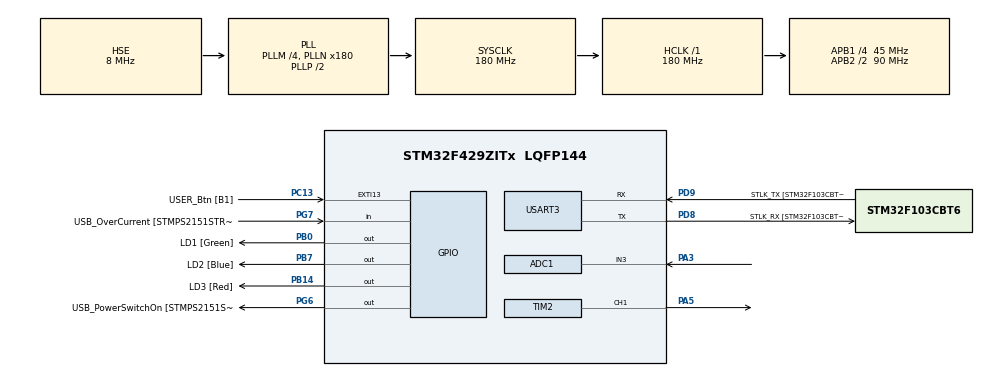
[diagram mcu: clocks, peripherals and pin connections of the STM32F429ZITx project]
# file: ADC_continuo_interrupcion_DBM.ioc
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ADC1.Channel-1\#ChannelRegularConversion=ADC_CHANNEL_3
ADC1.ClockPrescaler=ADC_CLOCK_SYNC_PCLK_DIV8
ADC1.ContinuousConvMode=ENABLE
ADC1.InjNumberOfConversion=0
ADC1.NbrOfConversion=1
ADC1.NbrOfConversionFlag=1
ADC1.Rank-1\#ChannelRegularConversion=1
ADC1.SamplingTime-1\#ChannelRegularConversion=ADC_SAMPLETIME_480CYCLES
ADC1.master=1
Mcu.Family=STM32F4
Mcu.Name=STM32F429ZITx
Mcu.Package=LQFP144
NVIC.ADC_IRQn=true\:0\:0\:false\:false\:true\:true\:true\:true
NVIC.PriorityGroup=NVIC_PRIORITYGROUP_4
PA1.GPIO_Label=RMII_REF_CLK [LAN8742A-CZ-TR_REFCLK0]
PA1.Signal=ETH_REF_CLK
PA10.GPIO_Label=USB_ID
PA10.Signal=USB_OTG_FS_ID
PA11.GPIO_Label=USB_DM
PA11.Signal=USB_OTG_FS_DM
PA12.GPIO_Label=USB_DP
PA12.Signal=USB_OTG_FS_DP
PA13.GPIO_Label=TMS
PA13.Mode=Serial_Wire
PA13.Signal=SYS_JTMS-SWDIO
PA14.GPIO_Label=TCK
PA14.Mode=Serial_Wire
PA14.Signal=SYS_JTCK-SWCLK
PA2.GPIO_Label=RMII_MDIO [LAN8742A-CZ-TR_MDIO]
PA2.Signal=ETH_MDIO
PA3.Signal=ADCx_IN3
PA5.Signal=S_TIM2_CH1_ETR
PA7.GPIO_Label=RMII_CRS_DV [LAN8742A-CZ-TR_CRS_DV]
PA7.Signal=ETH_CRS_DV
PA8.GPIO_Label=USB_SOF [TP1]
PA8.Signal=USB_OTG_FS_SOF
PA9.GPIO_Label=USB_VBUS
PA9.Signal=USB_OTG_FS_VBUS
PB0.GPIO_Label=LD1 [Green]
PB0.Signal=GPIO_Output
PB13.GPIO_Label=RMII_TXD1 [LAN8742A-CZ-TR_TXD1]
PB13.Signal=ETH_TXD1
PB14.GPIO_Label=LD3 [Red]
PB14.Signal=GPIO_Output
PB7.GPIO_Label=LD2 [Blue]
PB7.Signal=GPIO_Output
PC1.GPIO_Label=RMII_MDC [LAN8742A-CZ-TR_MDC]
PC1.Signal=ETH_MDC
PC13.GPIO_Label=USER_Btn [B1]
PC13.Signal=GPXTI13
PC14/OSC32_IN.Mode=LSE-External-Oscillator
PC14/OSC32_IN.Signal=RCC_OSC32_IN
PC15/OSC32_OUT.Mode=LSE-External-Oscillator
PC15/OSC32_OUT.Signal=RCC_OSC32_OUT
PC4.GPIO_Label=RMII_RXD0 [LAN8742A-CZ-TR_RXD0]
PC4.Signal=ETH_RXD0
PC5.GPIO_Label=RMII_RXD1 [LAN8742A-CZ-TR_RXD1]
PC5.Signal=ETH_RXD1
PD8.GPIO_Label=STLK_RX [STM32F103CBT6_PA3]
PD8.Mode=Asynchronous
PD8.Signal=USART3_TX
PD9.GPIO_Label=STLK_TX [STM32F103CBT6_PA2]
PD9.Mode=Asynchronous
PD9.Signal=USART3_RX
PG11.GPIO_Label=RMII_TX_EN [LAN8742A-CZ-TR_TXEN]
PG11.Signal=ETH_TX_EN
PG13.GPIO_Label=RMII_TXD0 [LAN8742A-CZ-TR_TXD0]
PG13.Signal=ETH_TXD0
PG6.GPIO_Label=USB_PowerSwitchOn [STMPS2151STR_EN]
PG6.Signal=GPIO_Output
PG7.GPIO_Label=USB_OverCurrent [STMPS2151STR_FAULT]
PG7.Signal=GPIO_Input
PH0/OSC_IN.GPIO_Label=MCO [STM32F103CBT6_PA8]
PH0/OSC_IN.Mode=HSE-External-Oscillator
PH0/OSC_IN.Signal=RCC_OSC_IN
PH1/OSC_OUT.Mode=HSE-External-Oscillator
PH1/OSC_OUT.Signal=RCC_OSC_OUT
ProjectManager.HeapSize=0x200
ProjectManager.StackSize=0x400
ProjectManager.TargetToolchain=STM32CubeIDE
RCC.48MHZClocksFreq_Value=51428571.428571425
RCC.AHBFreq_Value=180000000
RCC.APB1CLKDivider=RCC_HCLK_DIV4
RCC.APB1Freq_Value=45000000
RCC.APB1TimFreq_Value=90000000
RCC.APB2CLKDivider=RCC_HCLK_DIV2
RCC.APB2Freq_Value=90000000
RCC.APB2TimCLKDivider=2
RCC.APB2TimFreq_Value=180000000
RCC.CortexFreq_Value=180000000
RCC.HCLKFreq_Value=180000000
RCC.HSE_VALUE=8000000
RCC.HSI_VALUE=16000000
RCC.PLLM=4
RCC.PLLMUL=RCC_PLL_MUL9
RCC.PLLN=180
RCC.PLLQ=7
RCC.PLLSourceVirtual=RCC_PLLSOURCE_HSE
RCC.PRESCALERUSB=RCC_USBCLKSOURCE_PLL_DIV1_5
RCC.SYSCLKFreq_VALUE=180000000
RCC.SYSCLKSource=RCC_SYSCLKSOURCE_PLLCLK
RCC.SYSCLKSourceVirtual=RCC_SYSCLKSOURCE_PLLCLK
RCC.USBFreq_Value=48000000
RCC.VCOOutputFreq_Value=360000000
SH.ADCx_IN3.0=ADC1_IN3,IN3
SH.S_TIM2_CH1_ETR.0=TIM2_CH1,PWM Generation1 CH1
TIM2.AutoReloadPreload=TIM_AUTORELOAD_PRELOAD_ENABLE
TIM2.Channel-PWM\ Generation1\ CH1=TIM_CHANNEL_1
TIM2.Period=65535
TIM2.Prescaler=1
USART3.VirtualMode=VM_ASYNC
VP_TIM2_VS_ClockSourceINT.Mode=Internal
board=NUCLEO-F429ZI

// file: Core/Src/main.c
/* USER CODE BEGIN Header */
/**
  ******************************************************************************
  * @file           : main.c
  * @brief          : Ejemplo de ADC continuo solicitado por encuesta
  *                   (No veo diferencia entre continuo y único)
  ******************************************************************************
  *
  * El ejemplo se desarrolló en base a:
  * https://deepbluembedded.com/stm32-adc-read-example-dma-interrupt-polling/
  *
  ******************************************************************************
  */
/* USER CODE END Header */
#include "main.h"

/* USER CODE BEGIN Includes */
#include "uOSAL.h"

/* USER CODE END Includes */

/* USER CODE BEGIN PM */
#define DELTA 500

/* USER CODE END PM */

ADC_HandleTypeDef hadc1;

TIM_HandleTypeDef htim2;

UART_HandleTypeDef huart3;

/* USER CODE BEGIN PV */
volatile uint32_t AD_RES = 0;

/* USER CODE END PV */

void SystemClock_Config(void);
static void MX_GPIO_Init(void);
static void MX_USART3_UART_Init(void);
static void MX_ADC1_Init(void);
static void MX_TIM2_Init(void);

int main(void)
{

  /* MCU Configuration--------------------------------------------------------*/

  /* Reset of all peripherals, Initializes the Flash interface and the Systick. */
  HAL_Init();

  /* Configure the system clock */
  SystemClock_Config();

  /* Initialize all configured peripherals */
  MX_GPIO_Init();
  MX_USART3_UART_Init();
  MX_ADC1_Init();
  MX_TIM2_Init();
  /* USER CODE BEGIN 2 */
  //-----------------------------------------------------------------------------------------------
  uint32_t Tiempo_ms = uOSALmiliseg ();
  uartInit();

  GPIO_InitTypeDef  GPIO_InitStruct;
  GPIO_InitStruct.Pin = GPIO_PIN_0;
  GPIO_InitStruct.Mode = GPIO_MODE_OUTPUT_PP;
  GPIO_InitStruct.Pull = GPIO_NOPULL;
  GPIO_InitStruct.Speed = GPIO_SPEED_FAST;
  HAL_GPIO_Init(GPIOA, &GPIO_InitStruct);

  HAL_TIM_PWM_Start(&htim2, TIM_CHANNEL_1);
  HAL_ADC_Start_IT(&hadc1);  // Inicia la conversión continua del ADC

  //-----------------------------------------------------------------------------------------------
  /* USER CODE END 2 */

  /* Infinite loop */
  while (1)
  {

    /* USER CODE BEGIN 3 */
	//---------------------------------------------------------------------------------------------

	// Evalúo si envío a UART
	if (uOSALmiliseg ()-Tiempo_ms > DELTA) {
		Tiempo_ms += DELTA;
		uEscribirTextoEnteroP ("Leo:", AD_RES);
	}

  }
  //-----------------------------------------------------------------------------------------------
  /* USER CODE END 3 */
}

void SystemClock_Config(void)
{
  RCC_OscInitTypeDef RCC_OscInitStruct = {0};
  RCC_ClkInitTypeDef RCC_ClkInitStruct = {0};

  /** Configure the main internal regulator output voltage
  */
  __HAL_RCC_PWR_CLK_ENABLE();
  __HAL_PWR_VOLTAGESCALING_CONFIG(PWR_REGULATOR_VOLTAGE_SCALE1);

  /** Initializes the RCC Oscillators according to the specified parameters
  * in the RCC_OscInitTypeDef structure.
  */
  RCC_OscInitStruct.OscillatorType = RCC_OSCILLATORTYPE_HSE;
  RCC_OscInitStruct.HSEState = RCC_HSE_ON;
  RCC_OscInitStruct.PLL.PLLState = RCC_PLL_ON;
  RCC_OscInitStruct.PLL.PLLSource = RCC_PLLSOURCE_HSE;
  RCC_OscInitStruct.PLL.PLLM = 4;
  RCC_OscInitStruct.PLL.PLLN = 180;
  RCC_OscInitStruct.PLL.PLLP = RCC_PLLP_DIV2;
  RCC_OscInitStruct.PLL.PLLQ = 7;
  if (HAL_RCC_OscConfig(&RCC_OscInitStruct) != HAL_OK)
  {
    Error_Handler();
  }

  /** Activate the Over-Drive mode
  */
  if (HAL_PWREx_EnableOverDrive() != HAL_OK)
  {
    Error_Handler();
  }

  /** Initializes the CPU, AHB and APB buses clocks
  */
  RCC_ClkInitStruct.ClockType = RCC_CLOCKTYPE_HCLK|RCC_CLOCKTYPE_SYSCLK
                              |RCC_CLOCKTYPE_PCLK1|RCC_CLOCKTYPE_PCLK2;
  RCC_ClkInitStruct.SYSCLKSource = RCC_SYSCLKSOURCE_PLLCLK;
  RCC_ClkInitStruct.AHBCLKDivider = RCC_SYSCLK_DIV1;
  RCC_ClkInitStruct.APB1CLKDivider = RCC_HCLK_DIV4;
  RCC_ClkInitStruct.APB2CLKDivider = RCC_HCLK_DIV2;

  if (HAL_RCC_ClockConfig(&RCC_ClkInitStruct, FLASH_LATENCY_5) != HAL_OK)
  {
    Error_Handler();
  }
}

static void MX_ADC1_Init(void)
{

  ADC_ChannelConfTypeDef sConfig = {0};

  /** Configure the global features of the ADC (Clock, Resolution, Data Alignment and number of conversion)
  */
  hadc1.Instance = ADC1;
  hadc1.Init.ClockPrescaler = ADC_CLOCK_SYNC_PCLK_DIV8;
  hadc1.Init.Resolution = ADC_RESOLUTION_12B;
  hadc1.Init.ScanConvMode = DISABLE;
  hadc1.Init.ContinuousConvMode = ENABLE;
  hadc1.Init.DiscontinuousConvMode = DISABLE;
  hadc1.Init.ExternalTrigConvEdge = ADC_EXTERNALTRIGCONVEDGE_NONE;
  hadc1.Init.ExternalTrigConv = ADC_SOFTWARE_START;
  hadc1.Init.DataAlign = ADC_DATAALIGN_RIGHT;
  hadc1.Init.NbrOfConversion = 1;
  hadc1.Init.DMAContinuousRequests = DISABLE;
  hadc1.Init.EOCSelection = ADC_EOC_SINGLE_CONV;
  if (HAL_ADC_Init(&hadc1) != HAL_OK)
  {
    Error_Handler();
  }

  /** Configure for the selected ADC regular channel its corresponding rank in the sequencer and its sample time.
  */
  sConfig.Channel = ADC_CHANNEL_3;
  sConfig.Rank = 1;
  sConfig.SamplingTime = ADC_SAMPLETIME_480CYCLES;
  if (HAL_ADC_ConfigChannel(&hadc1, &sConfig) != HAL_OK)
  {
    Error_Handler();
  }

}

static void MX_TIM2_Init(void)
{

  TIM_ClockConfigTypeDef sClockSourceConfig = {0};
  TIM_MasterConfigTypeDef sMasterConfig = {0};
  TIM_OC_InitTypeDef sConfigOC = {0};

  htim2.Instance = TIM2;
  htim2.Init.Prescaler = 1;
  htim2.Init.CounterMode = TIM_COUNTERMODE_UP;
  htim2.Init.Period = 65535;
  htim2.Init.ClockDivision = TIM_CLOCKDIVISION_DIV1;
  htim2.Init.AutoReloadPreload = TIM_AUTORELOAD_PRELOAD_ENABLE;
  if (HAL_TIM_Base_Init(&htim2) != HAL_OK)
  {
    Error_Handler();
  }
  sClockSourceConfig.ClockSource = TIM_CLOCKSOURCE_INTERNAL;
  if (HAL_TIM_ConfigClockSource(&htim2, &sClockSourceConfig) != HAL_OK)
  {
    Error_Handler();
  }
  if (HAL_TIM_PWM_Init(&htim2) != HAL_OK)
  {
    Error_Handler();
  }
  sMasterConfig.MasterOutputTrigger = TIM_TRGO_RESET;
  sMasterConfig.MasterSlaveMode = TIM_MASTERSLAVEMODE_DISABLE;
  if (HAL_TIMEx_MasterConfigSynchronization(&htim2, &sMasterConfig) != HAL_OK)
  {
    Error_Handler();
  }
  sConfigOC.OCMode = TIM_OCMODE_PWM1;
  sConfigOC.Pulse = 0;
  sConfigOC.OCPolarity = TIM_OCPOLARITY_HIGH;
  sConfigOC.OCFastMode = TIM_OCFAST_DISABLE;
  if (HAL_TIM_PWM_ConfigChannel(&htim2, &sConfigOC, TIM_CHANNEL_1) != HAL_OK)
  {
    Error_Handler();
  }
  HAL_TIM_MspPostInit(&htim2);

}

static void MX_USART3_UART_Init(void)
{

  huart3.Instance = USART3;
  huart3.Init.BaudRate = 115200;
  huart3.Init.WordLength = UART_WORDLENGTH_8B;
  huart3.Init.StopBits = UART_STOPBITS_1;
  huart3.Init.Parity = UART_PARITY_NONE;
  huart3.Init.Mode = UART_MODE_TX_RX;
  huart3.Init.HwFlowCtl = UART_HWCONTROL_NONE;
  huart3.Init.OverSampling = UART_OVERSAMPLING_16;
  if (HAL_UART_Init(&huart3) != HAL_OK)
  {
    Error_Handler();
  }

}

static void MX_GPIO_Init(void)
{
  GPIO_InitTypeDef GPIO_InitStruct = {0};

  /* GPIO Ports Clock Enable */
  __HAL_RCC_GPIOC_CLK_ENABLE();
  __HAL_RCC_GPIOH_CLK_ENABLE();
  __HAL_RCC_GPIOA_CLK_ENABLE();
  __HAL_RCC_GPIOB_CLK_ENABLE();
  __HAL_RCC_GPIOD_CLK_ENABLE();
  __HAL_RCC_GPIOG_CLK_ENABLE();

  /*Configure GPIO pin Output Level */
  HAL_GPIO_WritePin(GPIOB, LD1_Pin|LD3_Pin|LD2_Pin, GPIO_PIN_RESET);

  /*Configure GPIO pin Output Level */
  HAL_GPIO_WritePin(USB_PowerSwitchOn_GPIO_Port, USB_PowerSwitchOn_Pin, GPIO_PIN_RESET);

  /*Configure GPIO pin : USER_Btn_Pin */
  GPIO_InitStruct.Pin = USER_Btn_Pin;
  GPIO_InitStruct.Mode = GPIO_MODE_IT_RISING;
  GPIO_InitStruct.Pull = GPIO_NOPULL;
  HAL_GPIO_Init(USER_Btn_GPIO_Port, &GPIO_InitStruct);

  /*Configure GPIO pins : RMII_MDC_Pin RMII_RXD0_Pin RMII_RXD1_Pin */
  GPIO_InitStruct.Pin = RMII_MDC_Pin|RMII_RXD0_Pin|RMII_RXD1_Pin;
  GPIO_InitStruct.Mode = GPIO_MODE_AF_PP;
  GPIO_InitStruct.Pull = GPIO_NOPULL;
  GPIO_InitStruct.Speed = GPIO_SPEED_FREQ_VERY_HIGH;
  GPIO_InitStruct.Alternate = GPIO_AF11_ETH;
  HAL_GPIO_Init(GPIOC, &GPIO_InitStruct);

  /*Configure GPIO pins : RMII_REF_CLK_Pin RMII_MDIO_Pin RMII_CRS_DV_Pin */
  GPIO_InitStruct.Pin = RMII_REF_CLK_Pin|RMII_MDIO_Pin|RMII_CRS_DV_Pin;
  GPIO_InitStruct.Mode = GPIO_MODE_AF_PP;
  GPIO_InitStruct.Pull = GPIO_NOPULL;
  GPIO_InitStruct.Speed = GPIO_SPEED_FREQ_VERY_HIGH;
  GPIO_InitStruct.Alternate = GPIO_AF11_ETH;
  HAL_GPIO_Init(GPIOA, &GPIO_InitStruct);

  /*Configure GPIO pins : LD1_Pin LD3_Pin LD2_Pin */
  GPIO_InitStruct.Pin = LD1_Pin|LD3_Pin|LD2_Pin;
  GPIO_InitStruct.Mode = GPIO_MODE_OUTPUT_PP;
  GPIO_InitStruct.Pull = GPIO_NOPULL;
  GPIO_InitStruct.Speed = GPIO_SPEED_FREQ_LOW;
  HAL_GPIO_Init(GPIOB, &GPIO_InitStruct);

  /*Configure GPIO pin : RMII_TXD1_Pin */
  GPIO_InitStruct.Pin = RMII_TXD1_Pin;
  GPIO_InitStruct.Mode = GPIO_MODE_AF_PP;
  GPIO_InitStruct.Pull = GPIO_NOPULL;
  GPIO_InitStruct.Speed = GPIO_SPEED_FREQ_VERY_HIGH;
  GPIO_InitStruct.Alternate = GPIO_AF11_ETH;
  HAL_GPIO_Init(RMII_TXD1_GPIO_Port, &GPIO_InitStruct);

  /*Configure GPIO pin : USB_PowerSwitchOn_Pin */
  GPIO_InitStruct.Pin = USB_PowerSwitchOn_Pin;
  GPIO_InitStruct.Mode = GPIO_MODE_OUTPUT_PP;
  GPIO_InitStruct.Pull = GPIO_NOPULL;
  GPIO_InitStruct.Speed = GPIO_SPEED_FREQ_LOW;
  HAL_GPIO_Init(USB_PowerSwitchOn_GPIO_Port, &GPIO_InitStruct);

  /*Configure GPIO pin : USB_OverCurrent_Pin */
  GPIO_InitStruct.Pin = USB_OverCurrent_Pin;
  GPIO_InitStruct.Mode = GPIO_MODE_INPUT;
  GPIO_InitStruct.Pull = GPIO_NOPULL;
  HAL_GPIO_Init(USB_OverCurrent_GPIO_Port, &GPIO_InitStruct);

  /*Configure GPIO pins : USB_SOF_Pin USB_ID_Pin USB_DM_Pin USB_DP_Pin */
  GPIO_InitStruct.Pin = USB_SOF_Pin|USB_ID_Pin|USB_DM_Pin|USB_DP_Pin;
  GPIO_InitStruct.Mode = GPIO_MODE_AF_PP;
  GPIO_InitStruct.Pull = GPIO_NOPULL;
  GPIO_InitStruct.Speed = GPIO_SPEED_FREQ_VERY_HIGH;
  GPIO_InitStruct.Alternate = GPIO_AF10_OTG_FS;
  HAL_GPIO_Init(GPIOA, &GPIO_InitStruct);

  /*Configure GPIO pin : USB_VBUS_Pin */
  GPIO_InitStruct.Pin = USB_VBUS_Pin;
  GPIO_InitStruct.Mode = GPIO_MODE_INPUT;
  GPIO_InitStruct.Pull = GPIO_NOPULL;
  HAL_GPIO_Init(USB_VBUS_GPIO_Port, &GPIO_InitStruct);

  /*Configure GPIO pins : RMII_TX_EN_Pin RMII_TXD0_Pin */
  GPIO_InitStruct.Pin = RMII_TX_EN_Pin|RMII_TXD0_Pin;
  GPIO_InitStruct.Mode = GPIO_MODE_AF_PP;
  GPIO_InitStruct.Pull = GPIO_NOPULL;
  GPIO_InitStruct.Speed = GPIO_SPEED_FREQ_VERY_HIGH;
  GPIO_InitStruct.Alternate = GPIO_AF11_ETH;
  HAL_GPIO_Init(GPIOG, &GPIO_InitStruct);

}

/* USER CODE BEGIN 4 */

void HAL_ADC_ConvCpltCallback(ADC_HandleTypeDef* hadc)
{

	// Read
	HAL_GPIO_WritePin(GPIOA, GPIO_PIN_0, GPIO_PIN_SET);
    AD_RES = HAL_ADC_GetValue(&hadc1);
	HAL_GPIO_WritePin(GPIOA, GPIO_PIN_0, GPIO_PIN_RESET);

    // Map It To PWM DutyCycle & Write it To The CCRx Register
    TIM2->CCR1 = (AD_RES<<4);

}

/* USER CODE END 4 */

void Error_Handler(void)
{
  __disable_irq();
  while (1)
  {
  }
}
